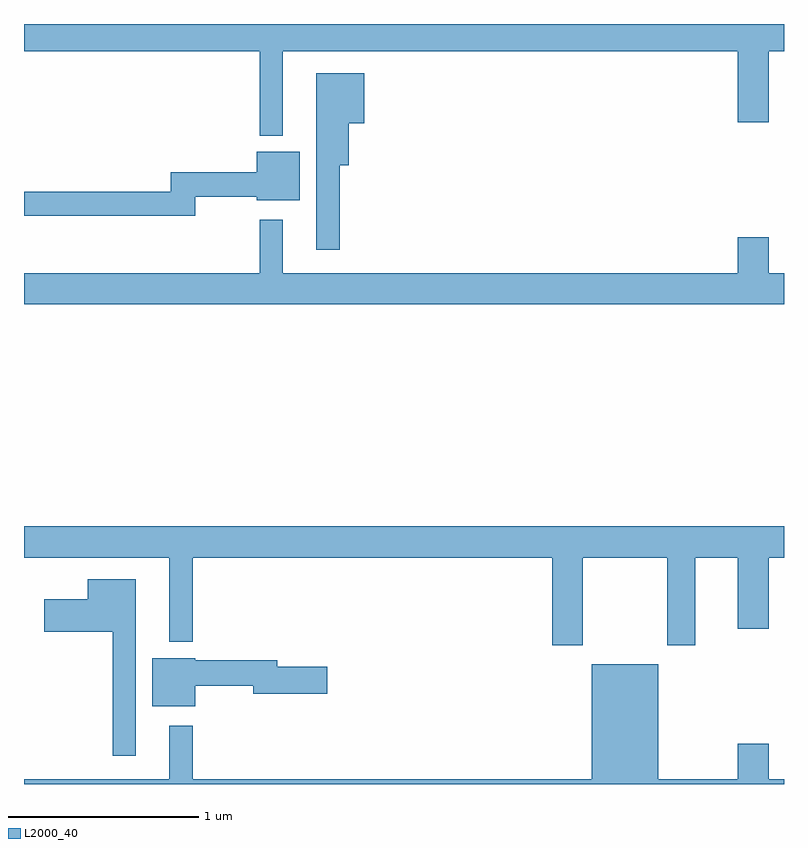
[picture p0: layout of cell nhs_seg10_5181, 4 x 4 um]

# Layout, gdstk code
import gdstk
lib = gdstk.Library(unit=1e-6, precision=1e-09)
def P(c, l, *ps):  # polygons
    for p in ps: c.add(gdstk.Polygon(p, *l))
L2000_40 = (2000, 40)

nhs_seg10_5181 = lib.new_cell('nhs_seg10_5181')
P(nhs_seg10_5181, L2000_40, [(414.361,1260.356),(416.756,1260.356),(416.756,1259.982),(416.92,1259.982),(416.92,1260.356),(417,1260.356),(417,1260.5),(413,1260.5),(413,1260.356),(414.24,1260.356),(414.24,1259.912),(414.361,1259.912)],
  [(414.661,1259.756),(414.71,1259.756),(414.71,1259.978),(414.79,1259.978),(414.79,1260.241),(414.539,1260.241),(414.539,1259.313),(414.661,1259.313)],
  [(413.902,1259.592),(414.224,1259.592),(414.224,1259.573),(414.451,1259.573),(414.451,1259.827),(414.224,1259.827),(414.224,1259.72),(413.773,1259.72),(413.773,1259.618),(413,1259.618),(413,1259.49),(413.902,1259.49)],
  [(417,1259.188),(416.92,1259.188),(416.92,1259.377),(416.756,1259.377),(416.756,1259.188),(414.361,1259.188),(414.361,1259.47),(414.24,1259.47),(414.24,1259.188),(413,1259.188),(413,1259.024),(417,1259.024)],
  [(415.941,1257.692),(416.386,1257.692),(416.386,1257.231),(416.533,1257.231),(416.533,1257.692),(416.756,1257.692),(416.756,1257.318),(416.92,1257.318),(416.92,1257.692),(417,1257.692),(417,1257.856),(413,1257.856),(413,1257.692),(413.765,1257.692),(413.765,1257.248),(413.887,1257.248),(413.887,1257.692),(415.781,1257.692),(415.781,1257.231),(415.941,1257.231)],
  [(413.587,1257.577),(413.336,1257.577),(413.336,1257.472),(413.106,1257.472),(413.106,1257.302),(413.466,1257.302),(413.466,1256.649),(413.587,1256.649)],
  [(413.902,1257.016),(414.206,1257.016),(414.206,1256.974),(414.595,1256.974),(414.595,1257.116),(414.334,1257.116),(414.334,1257.152),(413.902,1257.152),(413.902,1257.163),(413.675,1257.163),(413.675,1256.909),(413.902,1256.909)],
  [(417,1256.524),(416.92,1256.524),(416.92,1256.713),(416.756,1256.713),(416.756,1256.524),(416.338,1256.524),(416.338,1257.13),(415.988,1257.13),(415.988,1256.524),(413.887,1256.524),(413.887,1256.806),(413.765,1256.806),(413.765,1256.524),(413,1256.524),(413,1256.5),(417,1256.5)])

lib.write_gds('nhs_seg10_5181.gds')
